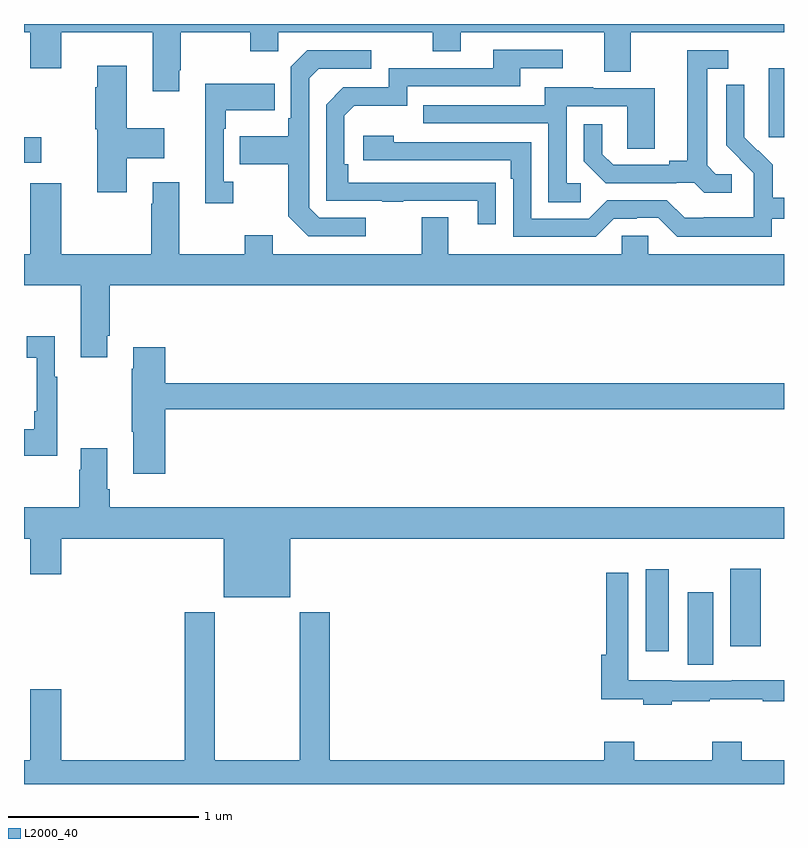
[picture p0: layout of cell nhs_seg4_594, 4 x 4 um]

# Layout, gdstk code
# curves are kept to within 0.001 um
import gdstk
lib = gdstk.Library(unit=1e-6, precision=1e-09)
def R(c, l, rs):  # rectangles x0, y0, x1, y1
    for r in rs: c.add(gdstk.rectangle(r[:2], r[2:], *l))
def P(c, l, *ps):  # polygons
    for p in ps: c.add(gdstk.Polygon(p, *l))
L2000_40 = (2000, 40)

nhs_seg4_594 = lib.new_cell('nhs_seg4_594')
R(nhs_seg4_594, L2000_40, [(144.494,757.528,144.628,757.909), (144.272,757.599,144.394,758.029), (144.716,757.626,144.877,758.032), (141,760.169,141.091,760.304), (144.92,760.305,145,760.666)])
P(nhs_seg4_594, L2000_40, [(141.817,760.657),(141.825,760.657),(141.825,760.856),(142.192,760.856),(142.192,760.757),(142.338,760.757),(142.338,760.856),(143.152,760.856),(143.152,760.757),(143.299,760.757),(143.299,760.856),(144.053,760.856),(144.053,760.648),(144.193,760.648),(144.193,760.856),(145,760.856),(145,760.9),(141,760.9),(141,760.856),(141.032,760.856),(141.032,760.668),(141.196,760.668),(141.196,760.856),(141.677,760.856),(141.677,760.545),(141.817,760.545)],
  [(143.483,760.064),(142.706,760.065),(142.706,760.162),(142.686,760.162),(142.686,760.416),(142.739,760.469),(143.016,760.469),(143.016,760.572),(143.611,760.572),(143.611,760.668),(143.836,760.668),(143.836,760.764),(143.471,760.764),(143.471,760.668),(142.92,760.668),(142.92,760.566),(142.68,760.566),(142.59,760.476),(142.59,759.969),(142.885,759.969),(142.885,759.964),(142.997,759.964),(142.997,759.969),(143.387,759.969),(143.387,759.846),(143.483,759.846)],
  [(142.798,759.879),(142.554,759.879),(142.5,759.933),(142.5,760.614),(142.551,760.665),(142.828,760.665),(142.828,760.761),(142.491,760.761),(142.404,760.674),(142.404,760.405),(142.392,760.405),(142.392,760.309),(142.135,760.309),(142.135,760.162),(142.392,760.162),(142.392,759.889),(142.497,759.783),(142.798,759.783)],
  [(144.724,760.11),(144.642,760.11),(144.595,760.157),(144.595,760.665),(144.706,760.665),(144.706,760.761),(144.491,760.761),(144.491,760.181),(144.395,760.181),(144.395,760.158),(144.1,760.158),(144.043,760.215),(144.043,760.372),(143.946,760.372),(143.946,760.178),(144.062,760.062),(144.434,760.062),(144.434,760.065),(144.528,760.065),(144.58,760.013),(144.724,760.013)],
  [(141.541,760.193),(141.739,760.193),(141.739,760.351),(141.541,760.351),(141.541,760.681),(141.386,760.681),(141.386,760.568),(141.374,760.568),(141.374,760.347),(141.386,760.347),(141.386,760.014),(141.541,760.014)],
  [(142.102,760.07),(142.05,760.07),(142.05,760.349),(142.063,760.349),(142.063,760.445),(142.319,760.445),(142.319,760.585),(141.953,760.585),(141.953,759.957),(142.102,759.957)],
  [(144.936,759.876),(145,759.876),(145,759.985),(144.941,759.985),(144.941,760.159),(144.864,760.236),(144.861,760.233),(144.791,760.304),(144.792,760.58),(144.696,760.58),(144.696,760.262),(144.842,760.114),(144.842,760.017),(144.84,760.017),(144.84,759.883),(144.577,759.883),(144.577,759.879),(144.477,759.879),(144.384,759.972),(144.069,759.972),(143.973,759.876),(143.67,759.876),(143.67,760.278),(142.946,760.278),(142.946,760.312),(142.785,760.312),(142.785,760.182),(143.561,760.182),(143.561,760.085),(143.574,760.085),(143.574,759.78),(144.009,759.78),(144.105,759.876),(144.224,759.876),(144.224,759.879),(144.339,759.879),(144.439,759.779),(144.936,759.779)],
  [(143.929,760.062),(143.856,760.062),(143.856,760.467),(144.174,760.467),(144.174,760.243),(144.319,760.243),(144.319,760.563),(143.995,760.563),(143.995,760.567),(143.741,760.567),(143.741,760.473),(143.101,760.473),(143.101,760.377),(143.76,760.377),(143.76,759.961),(143.929,759.961)],
  [(141.439,759.259),(141.452,759.259),(141.452,759.524),(145,759.524),(145,759.688),(144.285,759.688),(144.285,759.786),(144.147,759.786),(144.147,759.688),(143.233,759.688),(143.233,759.883),(143.093,759.883),(143.093,759.688),(142.309,759.688),(142.309,759.787),(142.162,759.787),(142.162,759.688),(141.817,759.688),(141.817,760.066),(141.677,760.066),(141.677,759.953),(141.67,759.953),(141.67,759.688),(141.196,759.688),(141.196,760.063),(141.032,760.063),(141.032,759.688),(141,759.688),(141,759.524),(141.299,759.524),(141.299,759.147),(141.439,759.147)],
  [(141.175,759.043),(141.163,759.043),(141.163,759.256),(141.015,759.256),(141.015,759.143),(141.066,759.143),(141.066,758.863),(141.054,758.863),(141.054,758.767),(141,758.767),(141,758.627),(141.175,758.627)],
  [(141.743,758.872),(145,758.872),(145,759.008),(141.743,759.008),(141.743,759.199),(141.575,759.199),(141.575,759.086),(141.568,759.086),(141.568,758.755),(141.575,758.755),(141.575,758.532),(141.743,758.532)],
  [(142.402,758.192),(145,758.192),(145,758.356),(141.452,758.356),(141.452,758.452),(141.439,758.452),(141.439,758.668),(141.299,758.668),(141.299,758.555),(141.292,758.555),(141.292,758.356),(141,758.356),(141,758.192),(141.032,758.192),(141.032,758.004),(141.196,758.004),(141.196,758.192),(142.052,758.192),(142.052,757.883),(142.402,757.883)],
  [(144.408,757.335),(144.608,757.335),(144.608,757.345),(144.887,757.345),(144.887,757.335),(145,757.335),(145,757.445),(144.724,757.445),(144.724,757.443),(144.408,757.443),(144.408,757.447),(144.18,757.447),(144.18,758.011),(144.064,758.011),(144.064,757.579),(144.038,757.579),(144.038,757.346),(144.258,757.346),(144.258,757.318),(144.408,757.318)],
  [(145,757.024),(144.777,757.024),(144.777,757.123),(144.622,757.123),(144.622,757.024),(144.213,757.024),(144.213,757.123),(144.053,757.123),(144.053,757.024),(142.61,757.024),(142.61,757.804),(142.45,757.804),(142.45,757.024),(142.005,757.024),(142.005,757.804),(141.845,757.804),(141.845,757.024),(141.196,757.024),(141.196,757.399),(141.032,757.399),(141.032,757.024),(141,757.024),(141,756.9),(145,756.9)])

lib.write_gds('nhs_seg4_594.gds')
